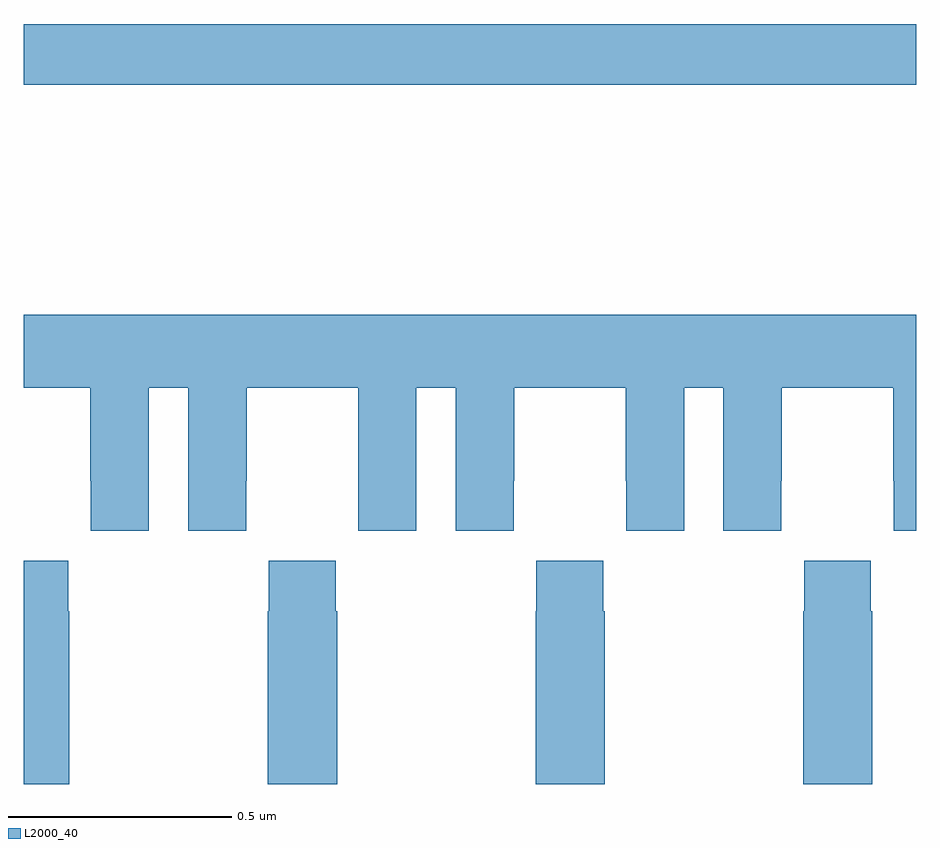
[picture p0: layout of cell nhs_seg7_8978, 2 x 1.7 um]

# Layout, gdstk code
import gdstk
lib = gdstk.Library(unit=1e-6, precision=1e-09)
def R(c, l, rs):  # rectangles x0, y0, x1, y1
    for r in rs: c.add(gdstk.rectangle(r[:2], r[2:], *l))
def P(c, l, *ps):  # polygons
    for p in ps: c.add(gdstk.Polygon(p, *l))
L2000_40 = (2000, 40)

nhs_seg7_8978 = lib.new_cell('nhs_seg7_8978')
R(nhs_seg7_8978, L2000_40, [(231,1062.568,233,1062.704)])
P(nhs_seg7_8978, L2000_40, [(231.28,1061.888),(231.368,1061.888),(231.368,1061.568),(231.498,1061.568),(231.498,1061.68),(231.499,1061.68),(231.499,1061.888),(231.749,1061.888),(231.749,1061.68),(231.75,1061.68),(231.75,1061.568),(231.88,1061.568),(231.88,1061.888),(231.968,1061.888),(231.968,1061.568),(232.098,1061.568),(232.098,1061.68),(232.099,1061.68),(232.099,1061.888),(232.349,1061.888),(232.349,1061.68),(232.35,1061.68),(232.35,1061.568),(232.48,1061.568),(232.48,1061.888),(232.568,1061.888),(232.568,1061.568),(232.698,1061.568),(232.698,1061.68),(232.699,1061.68),(232.699,1061.888),(232.949,1061.888),(232.949,1061.68),(232.95,1061.68),(232.95,1061.568),(233,1061.568),(233,1062.052),(231,1062.052),(231,1061.888),(231.149,1061.888),(231.149,1061.68),(231.15,1061.68),(231.15,1061.568),(231.28,1061.568)],
  [(232.902,1061.387),(232.899,1061.387),(232.899,1061.5),(232.749,1061.5),(232.749,1061.387),(232.747,1061.387),(232.747,1061),(232.902,1061)],
  [(231.702,1061.387),(231.699,1061.387),(231.699,1061.5),(231.549,1061.5),(231.549,1061.387),(231.547,1061.387),(231.547,1061),(231.702,1061)],
  [(232.302,1061.387),(232.299,1061.387),(232.299,1061.5),(232.149,1061.5),(232.149,1061.387),(232.147,1061.387),(232.147,1061),(232.302,1061)],
  [(231.102,1061.387),(231.099,1061.387),(231.099,1061.5),(231,1061.5),(231,1061),(231.102,1061)])

lib.write_gds('nhs_seg7_8978.gds')
